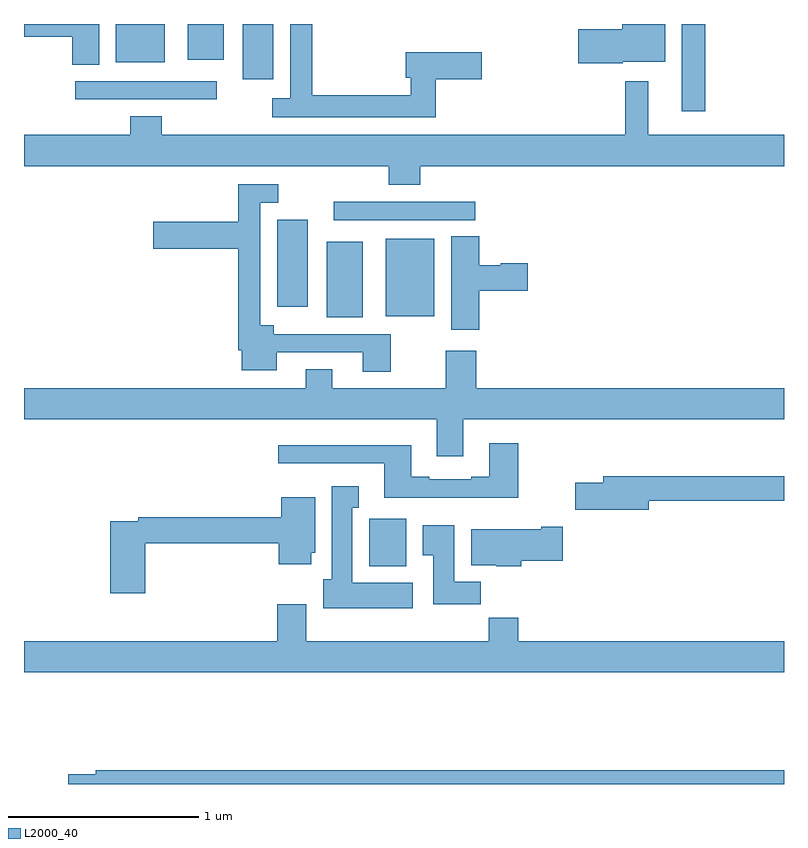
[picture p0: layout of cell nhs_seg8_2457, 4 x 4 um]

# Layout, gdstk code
import gdstk
lib = gdstk.Library(unit=1e-6, precision=1e-09)
def R(c, l, rs):  # rectangles x0, y0, x1, y1
    for r in rs: c.add(gdstk.rectangle(r[:2], r[2:], *l))
def P(c, l, *ps):  # polygons
    for p in ps: c.add(gdstk.Polygon(p, *l))
L2000_40 = (2000, 40)

nhs_seg8_2457 = lib.new_cell('nhs_seg8_2457')
R(nhs_seg8_2457, L2000_40, [(266.817,1129.046,267.013,1129.296), (266.594,1130.357,266.782,1130.755), (266.903,1130.363,267.16,1130.77), (266.333,1130.412,266.494,1130.869), (266.631,1130.868,267.376,1130.964), (268.463,1131.441,268.585,1131.9), (265.269,1131.504,266.014,1131.6), (266.15,1131.609,266.311,1131.9), (265.484,1131.698,265.741,1131.9), (265.862,1131.713,266.05,1131.9)])
P(nhs_seg8_2457, L2000_40, [(267.167,1131.61),(267.409,1131.61),(267.409,1131.752),(267.008,1131.752),(267.008,1131.617),(267.035,1131.617),(267.035,1131.524),(266.516,1131.524),(266.516,1131.9),(266.4,1131.9),(266.4,1131.508),(266.307,1131.508),(266.307,1131.408),(267.167,1131.408)],
  [(265.396,1131.9),(265,1131.9),(265,1131.832),(265.255,1131.832),(265.255,1131.685),(265.396,1131.685)],
  [(268.152,1131.701),(268.375,1131.701),(268.375,1131.9),(268.148,1131.9),(268.148,1131.872),(267.918,1131.872),(267.918,1131.694),(268.152,1131.694)],
  [(267.086,1131.152),(269,1131.152),(269,1131.316),(268.285,1131.316),(268.285,1131.598),(268.164,1131.598),(268.164,1131.316),(265.724,1131.316),(265.724,1131.415),(265.559,1131.415),(265.559,1131.316),(265,1131.316),(265,1131.152),(266.921,1131.152),(266.921,1131.053),(267.086,1131.053)],
  [(266.931,1130.268),(266.314,1130.268),(266.314,1130.314),(266.244,1130.314),(266.244,1130.96),(266.338,1130.96),(266.338,1131.057),(266.128,1131.057),(266.128,1130.859),(265.68,1130.859),(265.68,1130.717),(266.128,1130.717),(266.128,1130.182),(266.147,1130.182),(266.147,1130.078),(266.329,1130.078),(266.329,1130.172),(266.783,1130.172),(266.783,1130.07),(266.931,1130.07)],
  [(267.395,1130.495),(267.652,1130.495),(267.652,1130.642),(267.509,1130.642),(267.509,1130.629),(267.395,1130.629),(267.395,1130.783),(267.248,1130.783),(267.248,1130.292),(267.395,1130.292)],
  [(267.313,1129.82),(269,1129.82),(269,1129.984),(267.38,1129.984),(267.38,1130.179),(267.22,1130.179),(267.22,1129.984),(266.623,1129.984),(266.623,1130.083),(266.483,1130.083),(266.483,1129.984),(265,1129.984),(265,1129.82),(267.173,1129.82),(267.173,1129.626),(267.313,1129.626)],
  [(267.602,1129.693),(267.449,1129.693),(267.449,1129.516),(267.353,1129.516),(267.353,1129.503),(267.133,1129.503),(267.133,1129.516),(267.037,1129.516),(267.037,1129.684),(266.337,1129.684),(266.337,1129.587),(266.897,1129.587),(266.897,1129.406),(267.602,1129.406)],
  [(268.288,1129.39),(269,1129.39),(269,1129.519),(268.049,1129.519),(268.049,1129.485),(267.9,1129.485),(267.9,1129.343),(268.288,1129.343)],
  [(267.046,1128.958),(266.728,1128.958),(266.728,1129.355),(266.761,1129.355),(266.761,1129.468),(266.621,1129.468),(266.621,1128.978),(266.576,1128.978),(266.576,1128.824),(267.046,1128.824)],
  [(265.637,1129.168),(266.342,1129.168),(266.342,1129.056),(266.512,1129.056),(266.512,1129.116),(266.533,1129.116),(266.533,1129.408),(266.354,1129.408),(266.354,1129.304),(265.6,1129.304),(265.6,1129.284),(265.454,1129.284),(265.454,1128.903),(265.637,1128.903)],
  [(267.404,1128.964),(267.265,1128.964),(267.265,1129.261),(267.098,1129.261),(267.098,1129.105),(267.155,1129.105),(267.155,1128.846),(267.404,1128.846)],
  [(267.617,1129.075),(267.835,1129.075),(267.835,1129.253),(267.722,1129.253),(267.722,1129.24),(267.353,1129.24),(267.353,1129.052),(267.486,1129.052),(267.486,1129.046),(267.617,1129.046)],
  [(269,1128.652),(267.602,1128.652),(267.602,1128.776),(267.445,1128.776),(267.445,1128.652),(266.485,1128.652),(266.485,1128.847),(266.333,1128.847),(266.333,1128.652),(265,1128.652),(265,1128.488),(269,1128.488)],
  [(269,1127.972),(265.378,1127.972),(265.378,1127.952),(265.232,1127.952),(265.232,1127.9),(269,1127.9)])

lib.write_gds('nhs_seg8_2457.gds')
